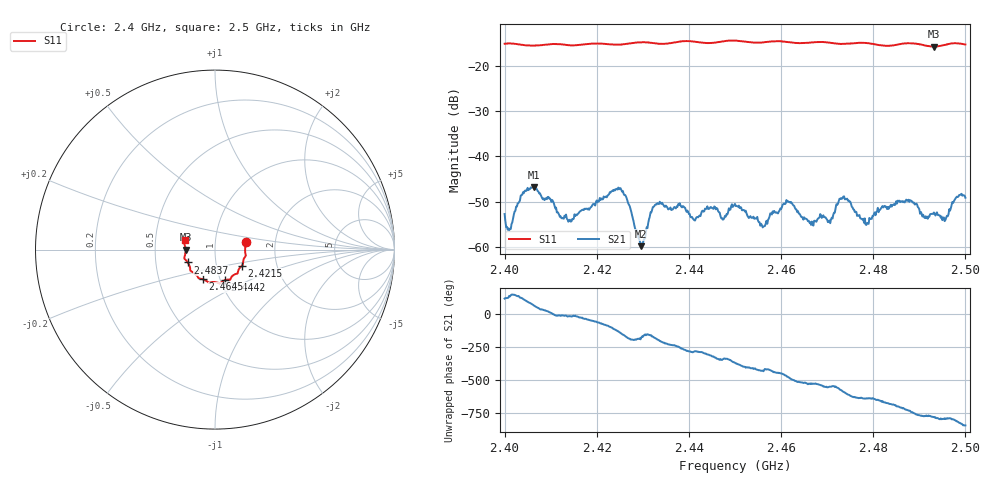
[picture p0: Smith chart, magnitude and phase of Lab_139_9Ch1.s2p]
# Hz S RI R 50
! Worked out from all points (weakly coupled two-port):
!   601 points, 2.4 GHz to 2.5 GHz, reference 50 ohm
!   highest |S21| = -46.73 dB at 2.4063 GHz (marker M1); lowest = -59.8 dB at 2.4297 GHz (marker M2)
!   lowest |S11| = -15.7 dB at 2.4932 GHz (marker M3), VSWR 1.39, Z = 35.9 - j0.0557 ohm
!   |S11| at or under -10 dB: start of sweep to end of sweep
!   S12 and S22 are empty: the file has one direction only
!   S11 on the Smith chart (normalised r, x): 2.4 GHz: 1.41, +0.12; 2.4215 GHz: 1.33, -0.25; 2.4442 GHz: 1.05, -0.37; 2.4645 GHz: 0.83, -0.29; 2.4837 GHz: 0.73, -0.11; 2.5 GHz: 0.71, +0.07
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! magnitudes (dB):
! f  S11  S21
! 2.4 GHz  -15.1  -52.7
! 2.4012 GHz  -15.0  -56.0
! 2.4063 GHz  -15.5  -46.7
! 2.4123 GHz  -15.2  -53.7
! 2.4167 GHz  -15.3  -51.9
! 2.4215 GHz  -15.1  -48.9
! 2.4255 GHz  -15.3  -47.8
! 2.4297 GHz  -14.8  -59.8
! 2.4333 GHz  -15.1  -50.4
! 2.4442 GHz  -15.0  -51.6
! 2.45 GHz  -14.4  -50.5
! 2.456 GHz  -14.8  -55.7
! 2.4617 GHz  -14.7  -50.0
! 2.4645 GHz  -15.0  -53.4
! 2.4667 GHz  -14.8  -54.4
! 2.4707 GHz  -14.9  -54.8
! 2.4732 GHz  -15.1  -49.4
! 2.4785 GHz  -14.9  -55.1
! 2.4833 GHz  -15.6  -51.6
! 2.4837 GHz  -15.5  -51.1
! 2.4932 GHz  -15.7  -52.4
! 2.5 GHz  -15.3  -49.1
